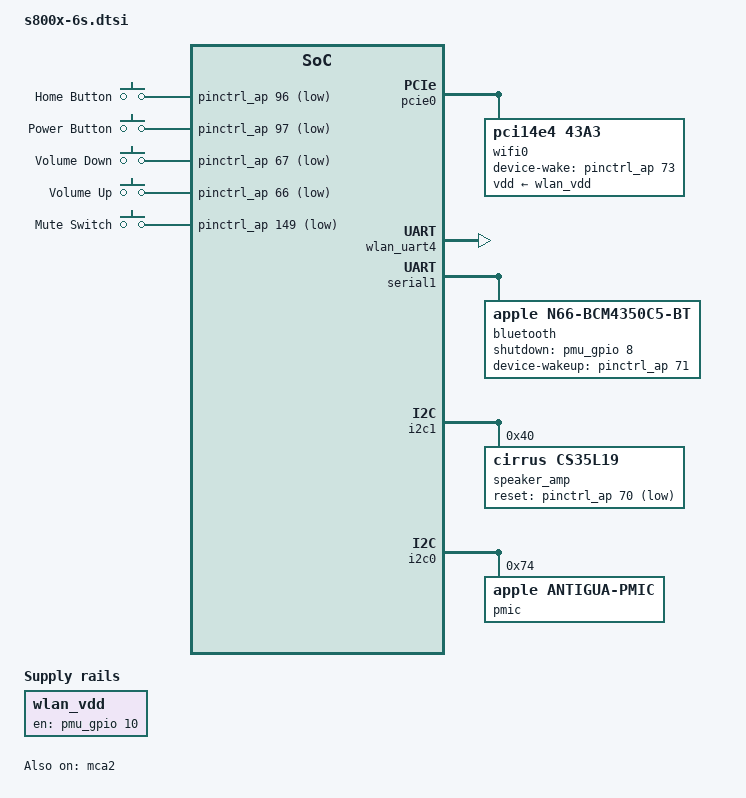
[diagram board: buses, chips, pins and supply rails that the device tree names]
// SPDX-License-Identifier: GPL-2.0+ OR MIT
/*
 * Apple iPhone 6s / 6S Plus common device tree
 *
 * Copyright (c) 2022, Konrad Dybcio <konradybcio@kernel.org>
 */

#include "s800-0-3-common.dtsi"
#include <dt-bindings/input/input.h>
#include "s800x-iphone.dtsi"

/ {
	chassis-type = "handset";

	gpio-keys {
		compatible = "gpio-keys";

		button-home {
			label = "Home Button";
			gpios = <&pinctrl_ap 96 GPIO_ACTIVE_LOW>;
			linux,code = <KEY_HOMEPAGE>;
			wakeup-source;
		};

		button-power {
			label = "Power Button";
			gpios = <&pinctrl_ap 97 GPIO_ACTIVE_LOW>;
			linux,code = <KEY_POWER>;
			wakeup-source;
		};

		button-voldown {
			label = "Volume Down";
			gpios = <&pinctrl_ap 67 GPIO_ACTIVE_LOW>;
			linux,code = <KEY_VOLUMEDOWN>;
		};

		button-volup {
			label = "Volume Up";
			gpios = <&pinctrl_ap 66 GPIO_ACTIVE_LOW>;
			linux,code = <KEY_VOLUMEUP>;
		};

		switch-mute {
			label = "Mute Switch";
			gpios = <&pinctrl_ap 149 GPIO_ACTIVE_LOW>;
			linux,code = <KEY_MUTE>;
		};
	};
};

/*
 * Wi-Fi and Bluetooth of the iPhone 6s and 6s Plus. The IPSW device trees
 * of N66, N66m, N71 and N71m (iOS 15.8.8) wire a BCM4350 module the same
 * way: Wi-Fi on PCIe port 1 (PERST# GPIO 161, CLKREQ# 165, DEVICE_WAKE 73),
 * REG_ON on D2255 GPIO 10 and the platform control on UART4; Bluetooth
 * (BCM4350C5, bluetooth,n88) on UART1 with power on D2255 GPIO 8 and
 * BT_WAKE on AP GPIO 71. Only the module differs: "pinotnoir" in the 6s
 * Plus, "albarossa" in the 6s. The iPhone SE has a BCM4345 instead.
 */
/ {
	aliases {
		bluetooth0 = &bluetooth;	/* the loader adds the device address */
		serial1 = &serial1;
		wifi0 = &wifi0;		/* the loader adds the MAC and calibration */
	};

	/* ADT uart4/wlan function-reg_on: D2255 GPIO 10 */
	wlan_vdd: regulator-wlan-vdd {
		compatible = "regulator-fixed";
		regulator-name = "wlan-vdd";
		gpio = <&pmu_gpio 10 GPIO_ACTIVE_HIGH>;
		enable-active-high;
		off-on-delay-us = <100000>;
	};
};

&pcie0 {
	pinctrl-0 = <&wifi_clkreq_pins>;
	pinctrl-names = "default";

	/*
	 * Wi-Fi, from the ADT pci-bridge1: PERST# GPIO 161, CLKREQ# 165,
	 * DEVICE_WAKE 73, 2.5 GT/s. The module has no host wake on an AP
	 * GPIO; iOS takes it as a D2255 event.
	 */
	pci@1,0 {
		device_type = "pci";
		reg = <0x800 0x0 0x0 0x0 0x0>;
		bus-range = <2 2>;
		reset-gpios = <&pinctrl_ap 161 GPIO_ACTIVE_LOW>;
		max-link-speed = <1>;
		aspm-no-l0s;
		aspm-no-l1;

		#address-cells = <3>;
		#size-cells = <2>;
		ranges;

		/*
		 * BCM4350 (14e4:43a3); bus 2 maps to pcie0_dart1. The model
		 * files name the module (ADT uart4/wlan module-instance).
		 */
		wifi0: wifi@0,0 {
			compatible = "pci14e4,43a3";
			reg = <0x20000 0x0 0x0 0x0 0x0>;
			apple,wlan-uart = <&wlan_uart4>;
			device-wake-gpios = <&pinctrl_ap 73 GPIO_ACTIVE_HIGH>;
			vdd-supply = <&wlan_vdd>;
			/* cfg80211's country goes to the firmware as <ISO code>/0 */
			brcm,ccode-map-trivial;
		};
	};
};

&pinctrl_ap {
	/*
	 * Port 1 CLKREQ# (ADT pci-bridge1 function-clkreq) in its peripheral
	 * function: iBoot doesn't set it up for Wi-Fi on a tethered boot.
	 */
	wifi_clkreq_pins: wifi-clkreq-pins {
		pinmux = <APPLE_PINMUX(165, 1)>;
	};

	/* ADT uart4 function-tx and function-rts */
	wlan_uart4_pins: wlan-uart4-pins {
		pinmux = <APPLE_PINMUX(28, 1)>,
			 <APPLE_PINMUX(30, 1)>;
	};

	/* ADT uart1: TX 24 and RTS 26; RX and CTS follow them */
	bluetooth_uart1_pins: bluetooth-uart1-pins {
		pinmux = <APPLE_PINMUX(24, 1)>,
			 <APPLE_PINMUX(25, 1)>,
			 <APPLE_PINMUX(26, 1)>,
			 <APPLE_PINMUX(27, 1)>;
	};
};

&wlan_uart4 {
	pinctrl-0 = <&wlan_uart4_pins>;
	pinctrl-names = "default";
	status = "okay";
};

/*
 * The BCM4350C5's Bluetooth on UART1, from the ADT uart1/bluetooth node:
 * power enable on D2255 GPIO 8, BT_WAKE on AP GPIO 71, 3 Mbit/s
 * transport-speed. The Patchram follows the Wi-Fi module vendor (USI or
 * Murata) that brcmfmac reads from the OTP.
 */
&serial1 {
	pinctrl-0 = <&bluetooth_uart1_pins>;
	pinctrl-names = "default";
	uart-has-rtscts;

	bluetooth: bluetooth {
		compatible = "apple,n66-bcm4350c5-bt";
		current-speed = <115200>;
		max-speed = <3000000>;
		shutdown-gpios = <&pmu_gpio 8 GPIO_ACTIVE_HIGH>;
		device-wakeup-gpios = <&pinctrl_ap 71 GPIO_ACTIVE_HIGH>;
		apple,wlan = <&wifi0>;
	};
};

/*
 * The loudspeaker of the iPhone 6s and 6s Plus: the IPSW device trees of
 * N66, N66m, N71 and N71m (iOS 15.8.8) describe the same amplifier, link
 * and route (i2c1/audio-speaker, mca2/audio-speaker). The iPhone SE's
 * MCA2 link differs (other slots and SmartIO FIFO words).
 */
/ {
	/*
	 * The loudspeaker: MCA2 to the CS35L19 at i2c1 0x40 on the TDM link of
	 * pad 2, speaker in slot 1 of 8 x 16 bit (ADT mca2/audio-speaker). iOS
	 * clocks this link from the CS42L71 codec, which has no driver yet;
	 * here MCA2 provides the clocks and the codec's port stays untouched.
	 */
	sound-speaker {
		compatible = "simple-audio-card";
		simple-audio-card,name = "iPhone Speaker";
		simple-audio-card,format = "dsp_a";
		simple-audio-card,bitclock-master = <&speaker_cpu>;
		simple-audio-card,frame-master = <&speaker_cpu>;
		simple-audio-card,widgets = "Speaker", "Speaker";
		simple-audio-card,routing = "Speaker", "SPK";

		speaker_cpu: simple-audio-card,cpu {
			sound-dai = <&mca2>;
		};

		simple-audio-card,codec {
			sound-dai = <&speaker_amp>;
			dai-tdm-slot-num = <8>;
			dai-tdm-slot-width = <16>;
			dai-tdm-slot-rx-mask = <0 1 0 0 0 0 0 0>;
		};
	};
};

/* ADT mca2 function-i2s_route: aud2 -> pin2 */
&mca2 {
	apple,i2s-switch = <&i2s_switch 2 2>;
	status = "okay";
};

&i2c1 {
	/*
	 * ADT i2c1/audio-speaker: audio-control,cs35l19 @0x40, reset AP GPIO
	 * 70 (0x46), interrupt AP GPIO 68 (unused). speaker-config is the
	 * IPSW device tree's 20-byte record, the same in the 6s and 6s Plus
	 * (iOS 15.8.8); iBoot may adjust it per unit. The Taptic Engine's
	 * CS35L19 (@0x41, reset 116) is left alone.
	 */
	speaker_amp: amplifier@40 {
		compatible = "cirrus,cs35l19";
		reg = <0x40>;
		reset-gpios = <&pinctrl_ap 70 GPIO_ACTIVE_LOW>;
		clocks = <&mca2>;
		clock-names = "mclk";
		apple,speaker-config = /bits/ 8 <0xaa 0x30 0x02 0x70 0x6a 0x80 0x30
						 0x1e 0x02 0x04 0x14 0x89 0x8a 0x10
						 0x73 0x03 0x05 0xd0 0x04 0x40>;
		#sound-dai-cells = <0>;
	};
};

&framebuffer0 {
	power-domains = <&ps_disp0 &ps_mipi_dsi>;
};

&i2c0 {
	status = "okay";

	pmic@74 {
		compatible = "apple,antigua-pmic", "apple,i2c-pmic";
		reg = <0x74>;
		#address-cells = <1>;
		#size-cells = <1>;

		rtc@500 {
			compatible = "apple,antigua-pmic-rtc";
			reg = <0x500 0x10>;
			nvmem-cells = <&rtc_offset>;
			nvmem-cell-names = "rtc_offset";
		};

		nvmem@5000 {
			compatible = "apple,pmic-nvmem";
			reg = <0x5000 0x28>;

			nvmem-layout {
				compatible = "fixed-layout";
				#address-cells = <1>;
				#size-cells = <1>;

				rtc_offset: rtc-offset@4 {
					reg = <0x4 0x4>;
				};
			};
		};
	};
};
